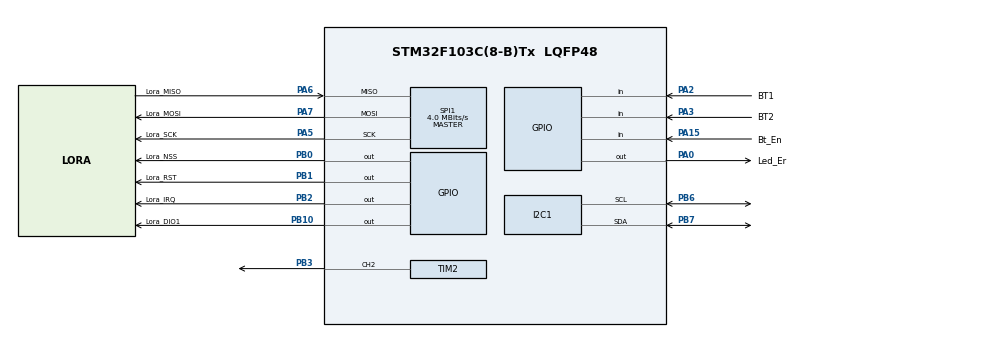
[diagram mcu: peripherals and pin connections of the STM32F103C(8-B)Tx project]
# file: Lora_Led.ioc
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I2C1.I2C_Mode=I2C_Fast
Mcu.Family=STM32F1
Mcu.Name=STM32F103C(8-B)Tx
Mcu.Package=LQFP48
NVIC.PriorityGroup=NVIC_PRIORITYGROUP_4
PA0-WKUP.GPIO_Label=Led_Er
PA0-WKUP.Signal=GPIO_Output
PA13.Mode=Serial_Wire
PA13.Signal=SYS_JTMS-SWDIO
PA14.Mode=Serial_Wire
PA14.Signal=SYS_JTCK-SWCLK
PA15.GPIO_Label=Bt_En
PA15.Signal=GPIO_Input
PA2.GPIO_Label=BT1
PA2.Signal=GPIO_Input
PA3.GPIO_Label=BT2
PA3.Signal=GPIO_Input
PA5.GPIO_Label=Lora_SCK
PA5.Mode=Full_Duplex_Master
PA5.Signal=SPI1_SCK
PA6.GPIO_Label=Lora_MISO
PA6.Mode=Full_Duplex_Master
PA6.Signal=SPI1_MISO
PA7.GPIO_Label=Lora_MOSI
PA7.Mode=Full_Duplex_Master
PA7.Signal=SPI1_MOSI
PB0.GPIO_Label=Lora_NSS
PB0.Signal=GPIO_Output
PB1.GPIO_Label=Lora_RST
PB1.Signal=GPIO_Output
PB10.GPIO_Label=Lora_DIO1
PB10.Signal=GPIO_Output
PB2.GPIO_Label=Lora_IRQ
PB2.Signal=GPIO_Output
PB3.Signal=S_TIM2_CH2
PB6.Mode=I2C
PB6.Signal=I2C1_SCL
PB7.Mode=I2C
PB7.Signal=I2C1_SDA
ProjectManager.HeapSize=0x200
ProjectManager.StackSize=0x400
ProjectManager.TargetToolchain=STM32CubeIDE
RCC.APB1Freq_Value=8000000
RCC.APB2Freq_Value=8000000
SH.S_TIM2_CH2.0=TIM2_CH2,PWM Generation2 CH2
SPI1.CalculateBaudRate=4.0 MBits/s
SPI1.Direction=SPI_DIRECTION_2LINES
SPI1.Mode=SPI_MODE_MASTER
SPI1.VirtualType=VM_MASTER
TIM2.Channel-PWM\ Generation2\ CH2=TIM_CHANNEL_2
TIM2.Period=79
TIM2.Prescaler=7
VP_TIM2_VS_ClockSourceINT.Mode=Internal
board=custom

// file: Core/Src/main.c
/* USER CODE BEGIN Header */
/**
  ******************************************************************************
  * @file           : main.c
  * @brief          : Main program body
  ******************************************************************************
  * @attention
  *
  * Copyright (c) 2024 STMicroelectronics.
  * All rights reserved.
  *
  * This software is licensed under terms that can be found in the LICENSE file
  * in the root directory of this software component.
  * If no LICENSE file comes with this software, it is provided AS-IS.
  *
  ******************************************************************************
  */
/* USER CODE END Header */
#include "main.h"

/* USER CODE BEGIN Includes */
#include "stdio.h"
#include "string.h"
#include "math.h"
#include "LoRa.h"
#include "VEML6040.h"
/* USER CODE END Includes */

I2C_HandleTypeDef hi2c1;

SPI_HandleTypeDef hspi1;

TIM_HandleTypeDef htim2;

/* USER CODE BEGIN PV */
#define MAX_DATA 128
LoRa myLoRa;
uint8_t buffer[64];
uint8_t read_data[MAX_DATA];
uint8_t send_data[MAX_DATA];
int			RSSI;
uint16_t data_length = 0, data_ok = 0;
uint32_t flag_sw1 = 0;
/* USER CODE END PV */

void SystemClock_Config(void);
static void MX_GPIO_Init(void);
static void MX_I2C1_Init(void);
static void MX_SPI1_Init(void);
static void MX_TIM2_Init(void);

/* USER CODE BEGIN 0 */
void reset_lora_ble(void)
{
	//khoi tao lora
	myLoRa = newLoRa();

	myLoRa.hSPIx                 = &hspi1;
	myLoRa.CS_port               = Lora_NSS_GPIO_Port;
	myLoRa.CS_pin                = Lora_NSS_Pin;
	myLoRa.reset_port            = Lora_RST_GPIO_Port;
	myLoRa.reset_pin             = Lora_RST_Pin;
	myLoRa.DIO0_port						 = Lora_IRQ_GPIO_Port;
	myLoRa.DIO0_pin							 = Lora_IRQ_Pin;

	myLoRa.frequency             = 433;							  // default = 433 MHz
	myLoRa.spredingFactor        = SF_7;							// default = SF_7
	myLoRa.bandWidth			       = BW_125KHz;				  // default = BW_125KHz
	myLoRa.crcRate				       = CR_4_5;						// default = CR_4_5
	myLoRa.power					       = POWER_20db;				// default = 20db
	myLoRa.overCurrentProtection = 120; 							// default = 100 mA
	myLoRa.preamble				       = 10;		  					// default = 8;

	LoRa_reset(&myLoRa);
	if(LoRa_init(&myLoRa) == LORA_OK)
	{
		HAL_GPIO_WritePin(Led_Er_GPIO_Port, Led_Er_Pin, GPIO_PIN_SET);
	}
	else
	{
		while(1)
		{
			  HAL_GPIO_TogglePin(Led_Er_GPIO_Port, Led_Er_Pin);
			  HAL_Delay(1000);
		}
	}
	LoRa_startReceiving(&myLoRa);
	HAL_Delay(1000);
}

uint8_t flag = 0, buf[100],len=0;
float ambientLight = 0;
uint16_t cct;
float red = 0; green = 0, blue = 0, white = 0;
/* USER CODE END 0 */

int main(void)
{

  /* MCU Configuration--------------------------------------------------------*/

  /* Reset of all peripherals, Initializes the Flash interface and the Systick. */
  HAL_Init();

  /* Configure the system clock */
  SystemClock_Config();

  /* Initialize all configured peripherals */
  MX_GPIO_Init();
  MX_I2C1_Init();
  MX_SPI1_Init();
  MX_TIM2_Init();
  /* USER CODE BEGIN 2 */
//  HAL_TIM_PWM_Start(&htim2, TIM_CHANNEL_2);
//  reset_lora_ble();
//
//  veml6040_setConfiguration(VEML6040_IT_320MS);  // Ví dụ cấu hình
  /* USER CODE END 2 */

  /* Infinite loop */
  while (1)
  {

    /* USER CODE BEGIN 3 */

	  HAL_GPIO_TogglePin(Led_Er_GPIO_Port, Led_Er_Pin);
	  HAL_Delay(500);
	  red = veml6040_getRed();
	  blue = veml6040_getBlue();
	  green = veml6040_getGreen();
	  white = veml6040_getWhite();
	ambientLight = veml6040_getAmbientLight();  // �?�?c cư�?ng độ ánh sáng
	cct = veml6040_getCCT(0.5);  // �?�?c nhiệt độ màu

	// Thực hiện các xử lý hoặc hiển thị dữ liệu ở đây
//	HAL_Delay(1000);  // �?ợi 1 giây trước khi đ�?c lại
//	  if(HAL_GPIO_ReadPin(myLoRa.DIO0_port, myLoRa.DIO0_pin) == GPIO_PIN_SET)
//	  {
//		  HAL_GPIO_TogglePin(Led_Er_GPIO_Port, Led_Er_Pin);	//nhay led status
//		  data_length = LoRa_receive(&myLoRa, read_data, MAX_DATA);
//		  RSSI = LoRa_getRSSI(&myLoRa);
//
//	  }
//	  if(read_data[0] == 'V' && read_data[1] == 'I' && read_data[2] == 'E' && read_data[3] == '1')
//	  {
//		  __HAL_TIM_SET_COMPARE(&htim2, TIM_CHANNEL_2, 99);
//	  }
//	  if(read_data[0] == 'V' && read_data[1] == 'I' && read_data[2] == 'E' && read_data[3] == '2')
//	  {
//		  __HAL_TIM_SET_COMPARE(&htim2, TIM_CHANNEL_2, 0);
//	  }
  }
  /* USER CODE END 3 */
}

void SystemClock_Config(void)
{
  RCC_OscInitTypeDef RCC_OscInitStruct = {0};
  RCC_ClkInitTypeDef RCC_ClkInitStruct = {0};

  /** Initializes the RCC Oscillators according to the specified parameters
  * in the RCC_OscInitTypeDef structure.
  */
  RCC_OscInitStruct.OscillatorType = RCC_OSCILLATORTYPE_HSI;
  RCC_OscInitStruct.HSIState = RCC_HSI_ON;
  RCC_OscInitStruct.HSICalibrationValue = RCC_HSICALIBRATION_DEFAULT;
  RCC_OscInitStruct.PLL.PLLState = RCC_PLL_NONE;
  if (HAL_RCC_OscConfig(&RCC_OscInitStruct) != HAL_OK)
  {
    Error_Handler();
  }

  /** Initializes the CPU, AHB and APB buses clocks
  */
  RCC_ClkInitStruct.ClockType = RCC_CLOCKTYPE_HCLK|RCC_CLOCKTYPE_SYSCLK
                              |RCC_CLOCKTYPE_PCLK1|RCC_CLOCKTYPE_PCLK2;
  RCC_ClkInitStruct.SYSCLKSource = RCC_SYSCLKSOURCE_HSI;
  RCC_ClkInitStruct.AHBCLKDivider = RCC_SYSCLK_DIV1;
  RCC_ClkInitStruct.APB1CLKDivider = RCC_HCLK_DIV1;
  RCC_ClkInitStruct.APB2CLKDivider = RCC_HCLK_DIV1;

  if (HAL_RCC_ClockConfig(&RCC_ClkInitStruct, FLASH_LATENCY_0) != HAL_OK)
  {
    Error_Handler();
  }
}

static void MX_I2C1_Init(void)
{

  hi2c1.Instance = I2C1;
  hi2c1.Init.ClockSpeed = 400000;
  hi2c1.Init.DutyCycle = I2C_DUTYCYCLE_2;
  hi2c1.Init.OwnAddress1 = 0;
  hi2c1.Init.AddressingMode = I2C_ADDRESSINGMODE_7BIT;
  hi2c1.Init.DualAddressMode = I2C_DUALADDRESS_DISABLE;
  hi2c1.Init.OwnAddress2 = 0;
  hi2c1.Init.GeneralCallMode = I2C_GENERALCALL_DISABLE;
  hi2c1.Init.NoStretchMode = I2C_NOSTRETCH_DISABLE;
  if (HAL_I2C_Init(&hi2c1) != HAL_OK)
  {
    Error_Handler();
  }

}

static void MX_SPI1_Init(void)
{

  /* SPI1 parameter configuration*/
  hspi1.Instance = SPI1;
  hspi1.Init.Mode = SPI_MODE_MASTER;
  hspi1.Init.Direction = SPI_DIRECTION_2LINES;
  hspi1.Init.DataSize = SPI_DATASIZE_8BIT;
  hspi1.Init.CLKPolarity = SPI_POLARITY_LOW;
  hspi1.Init.CLKPhase = SPI_PHASE_1EDGE;
  hspi1.Init.NSS = SPI_NSS_SOFT;
  hspi1.Init.BaudRatePrescaler = SPI_BAUDRATEPRESCALER_2;
  hspi1.Init.FirstBit = SPI_FIRSTBIT_MSB;
  hspi1.Init.TIMode = SPI_TIMODE_DISABLE;
  hspi1.Init.CRCCalculation = SPI_CRCCALCULATION_DISABLE;
  hspi1.Init.CRCPolynomial = 10;
  if (HAL_SPI_Init(&hspi1) != HAL_OK)
  {
    Error_Handler();
  }

}

static void MX_TIM2_Init(void)
{

  TIM_ClockConfigTypeDef sClockSourceConfig = {0};
  TIM_MasterConfigTypeDef sMasterConfig = {0};
  TIM_OC_InitTypeDef sConfigOC = {0};

  htim2.Instance = TIM2;
  htim2.Init.Prescaler = 7;
  htim2.Init.CounterMode = TIM_COUNTERMODE_UP;
  htim2.Init.Period = 79;
  htim2.Init.ClockDivision = TIM_CLOCKDIVISION_DIV1;
  htim2.Init.AutoReloadPreload = TIM_AUTORELOAD_PRELOAD_DISABLE;
  if (HAL_TIM_Base_Init(&htim2) != HAL_OK)
  {
    Error_Handler();
  }
  sClockSourceConfig.ClockSource = TIM_CLOCKSOURCE_INTERNAL;
  if (HAL_TIM_ConfigClockSource(&htim2, &sClockSourceConfig) != HAL_OK)
  {
    Error_Handler();
  }
  if (HAL_TIM_PWM_Init(&htim2) != HAL_OK)
  {
    Error_Handler();
  }
  sMasterConfig.MasterOutputTrigger = TIM_TRGO_RESET;
  sMasterConfig.MasterSlaveMode = TIM_MASTERSLAVEMODE_DISABLE;
  if (HAL_TIMEx_MasterConfigSynchronization(&htim2, &sMasterConfig) != HAL_OK)
  {
    Error_Handler();
  }
  sConfigOC.OCMode = TIM_OCMODE_PWM1;
  sConfigOC.Pulse = 0;
  sConfigOC.OCPolarity = TIM_OCPOLARITY_HIGH;
  sConfigOC.OCFastMode = TIM_OCFAST_DISABLE;
  if (HAL_TIM_PWM_ConfigChannel(&htim2, &sConfigOC, TIM_CHANNEL_2) != HAL_OK)
  {
    Error_Handler();
  }
  HAL_TIM_MspPostInit(&htim2);

}

static void MX_GPIO_Init(void)
{
  GPIO_InitTypeDef GPIO_InitStruct = {0};

  /* GPIO Ports Clock Enable */
  __HAL_RCC_GPIOA_CLK_ENABLE();
  __HAL_RCC_GPIOB_CLK_ENABLE();

  /*Configure GPIO pin Output Level */
  HAL_GPIO_WritePin(Led_Er_GPIO_Port, Led_Er_Pin, GPIO_PIN_RESET);

  /*Configure GPIO pin Output Level */
  HAL_GPIO_WritePin(GPIOB, Lora_NSS_Pin|Lora_RST_Pin|Lora_IRQ_Pin|Lora_DIO1_Pin, GPIO_PIN_RESET);

  /*Configure GPIO pin : Led_Er_Pin */
  GPIO_InitStruct.Pin = Led_Er_Pin;
  GPIO_InitStruct.Mode = GPIO_MODE_OUTPUT_PP;
  GPIO_InitStruct.Pull = GPIO_NOPULL;
  GPIO_InitStruct.Speed = GPIO_SPEED_FREQ_LOW;
  HAL_GPIO_Init(Led_Er_GPIO_Port, &GPIO_InitStruct);

  /*Configure GPIO pins : BT1_Pin BT2_Pin Bt_En_Pin */
  GPIO_InitStruct.Pin = BT1_Pin|BT2_Pin|Bt_En_Pin;
  GPIO_InitStruct.Mode = GPIO_MODE_INPUT;
  GPIO_InitStruct.Pull = GPIO_NOPULL;
  HAL_GPIO_Init(GPIOA, &GPIO_InitStruct);

  /*Configure GPIO pins : Lora_NSS_Pin Lora_RST_Pin Lora_IRQ_Pin Lora_DIO1_Pin */
  GPIO_InitStruct.Pin = Lora_NSS_Pin|Lora_RST_Pin|Lora_IRQ_Pin|Lora_DIO1_Pin;
  GPIO_InitStruct.Mode = GPIO_MODE_OUTPUT_PP;
  GPIO_InitStruct.Pull = GPIO_NOPULL;
  GPIO_InitStruct.Speed = GPIO_SPEED_FREQ_LOW;
  HAL_GPIO_Init(GPIOB, &GPIO_InitStruct);

}

void Error_Handler(void)
{
  __disable_irq();
  while (1)
  {
  }
}
